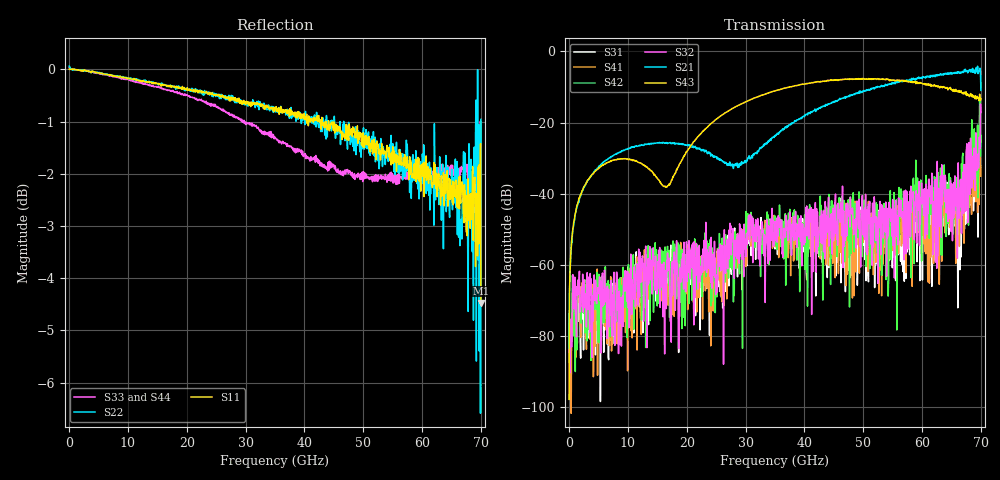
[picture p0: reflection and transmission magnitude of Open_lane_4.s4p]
! 4/13/2026 10:55:09 AM
! C:\ANRITSUVNA\DATA\SARA\2026-04-13 T5 MZDRV\DEEMB STRUCTURES\OPEN_3.S4P
! CHANNEL.1
! TR.MEASUREMENT
! CORRECTED.DATA
! RF.CORRECTION: FULL.FOUR.PORT.CAL.PORT.1.2.3.4
! AVERAGING.OFF
! IF.BANDWIDTH: 1KHZ
! SWEEPTYPE:  FREQ.SWEEP(Linear)
! Reference Plane Port Info
! PORT:  PORT1  PORT2  PORT3  PORT4
! DISTANCE:  0  m  0  m  0  m  0  m
! TIME:  0  s  0  s  0  s  0  s
! PHASE.OFFSET:  0 °  0 °  0 °  0 °
! LOSS:  0  dB  0  dB  0  dB  0  dB
! REF.LOSS:  0  dB  0  dB  0  dB  0  dB
! REF.FREQ:  0  Hz  0  Hz  0  Hz  0  Hz
! Power Info
! POWER:  -20  dBm  -20  dBm  -20  dBm  -20  dBm
! EFF.POWER:  -20  dBm  -20  dBm  -20  dBm  -20  dBm
! SOURCE.ATTEN:  0  dB  0  dB  0  dB  0  dB
! TEST.ATTEN:  0  dB  0  dB  0  dB  0  dB
# HZ S DB R 50.0
! FREQ.HZ  S11DB  S11A  S12DB  S12A  S13DB  S13A  S14DB  S14A
!  S21DB  S21A  S22DB  S22A  S23DB  S23A  S24DB  S24A
!  S31DB  S31A  S32DB  S32A  S33DB  S33A  S34DB  S34A
!  S41DB  S41A  S42DB  S42A  S43DB  S43A  S44DB  S44A
!; PortSelection: Port_1234
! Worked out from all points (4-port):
!   1001 points, 10 MHz to 70 GHz, reference 50 ohm
!   strongest paths, dB at 10 MHz, 17.51 GHz, 35.01 GHz, 52.5 GHz, 70 GHz:
!     S43: -97.8, -36.1, -11.0, -7.6, -13.3
!     S21: -83.4, -25.7, -23.8, -9.9, -10.9
!     S32: -84.4, -59.2, -47.8, -65.2, -17.1
!     S42: -73.8, -58.3, -46.3, -48.1, -23.5
!     S41: -76.6, -68.7, -50.8, -48.3, -35.1
!     S31: -78.4, -58.3, -55.5, -55.6, -25.3
!   lowest |S11| = -4.5 dB at 70 GHz (marker M1), VSWR 3.97, Z = 13.2 - j10.8 ohm
!   |S11| at or under -10 dB: nowhere
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1e7  0.00 -0.0  -76.15 40.6  -92.87 -125.9  -84.09 75.2
     -83.44 18.0  0.06 0.1  -86.52 -133.9  -91.05 -130.6
     -78.43 -177.4  -84.42 105.1  0.03 0.1  -78.90 135.0
     -76.58 45.2  -73.80 -39.2  -97.80 -102.3  0.01 0.0
1.61977e9  -0.02 -3.3  -42.10 85.5  -79.97 121.4  -79.81 -65.5
           -42.37 85.1  -0.01 -3.4  -80.45 -142.8  -73.67 -113.6
           -69.10 -99.4  -68.24 81.0  -0.01 -6.0  -41.71 84.9
           -64.11 173.7  -65.07 -173.8  -41.79 86.0  -0.02 -6.0
7.7089e9  -0.13 -15.4  -29.00 77.6  -78.45 -97.1  -72.09 -147.2
          -29.01 77.5  -0.12 -15.2  -68.38 104.0  -73.37 -22.7
          -82.18 91.0  -77.91 -176.0  -0.14 -28.1  -30.44 66.5
          -72.97 -68.1  -69.22 -40.7  -30.52 66.4  -0.14 -28.1
1.673761e10  -0.32 -32.5  -25.57 64.3  -66.56 -127.4  -59.58 -131.6
             -25.87 63.9  -0.32 -32.5  -64.93 -134.6  -64.02 -144.9
             -58.51 -163.5  -56.66 -145.6  -0.41 -60.9  -37.76 119.6
             -70.96 -157.7  -54.80 -152.6  -37.73 121.1  -0.41 -60.8
3.444508e10  -0.76 -68.1  -24.31 165.5  -50.94 169.2  -48.00 159.6
             -24.46 165.8  -0.77 -67.6  -50.86 176.4  -50.55 161.0
             -47.78 -170.3  -53.12 154.5  -1.31 -128.8  -11.32 132.7
             -49.96 153.2  -51.11 159.9  -11.34 132.8  -1.31 -128.8
6.216112e10  -1.82 -129.1  -7.01 136.0  -49.39 -152.5  -52.97 -156.8
             -6.70 137.4  -1.78 -128.0  -56.37 106.0  -55.11 -175.5
             -58.74 -42.8  -43.47 -82.9  -2.03 132.2  -9.56 47.1
             -49.37 159.9  -36.11 -147.0  -9.66 49.4  -1.89 133.3
7e10  -4.48 -153.9  -11.42 164.7  -47.52 -169.2  -44.19 149.9
      -10.94 156.7  -0.96 -53.8  -56.30 3.7  -41.37 -96.0
      -25.27 165.4  -17.12 -178.7  -3.63 107.2  -13.74 21.6
      -35.06 -171.5  -23.50 -156.4  -13.27 20.4  -1.29 100.4
